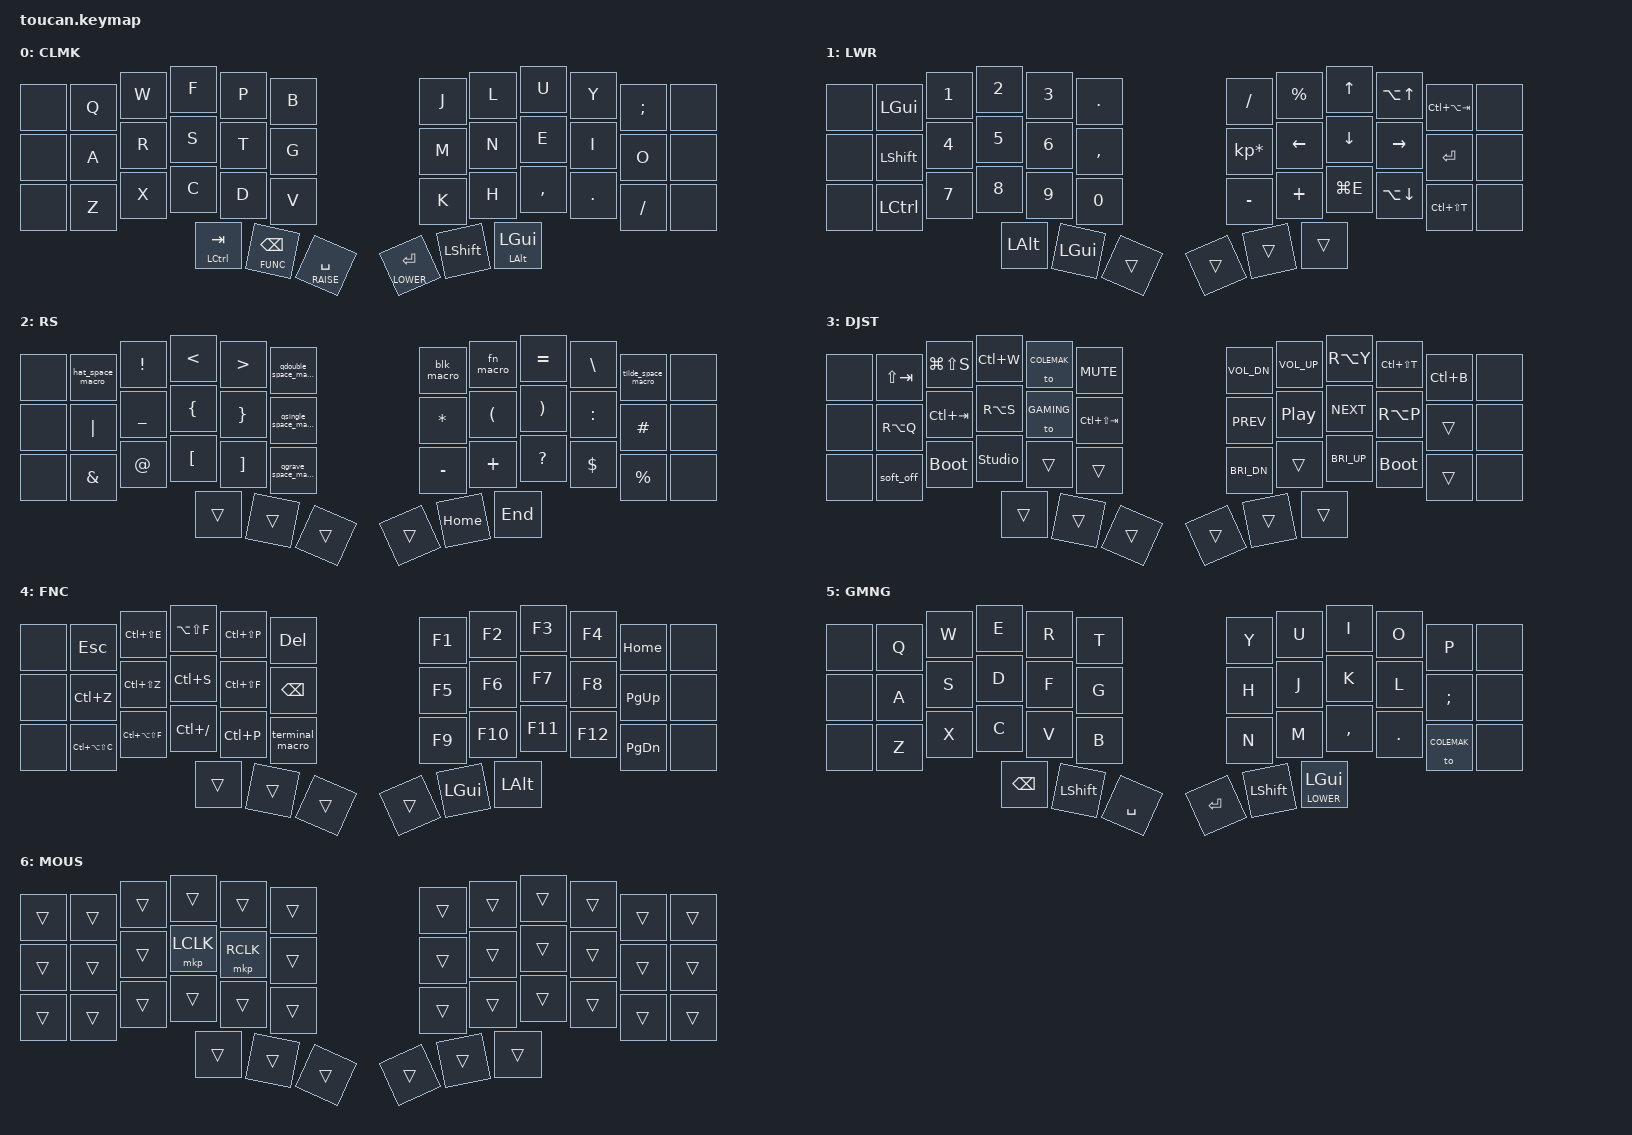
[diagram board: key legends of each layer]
#include <behaviors.dtsi>
#include <dt-bindings/zmk/keys.h>
#include <dt-bindings/zmk/bt.h>
#include <dt-bindings/zmk/outputs.h>

#define COLEMAK 0
#define LOWER   1
#define RAISE   2
#define ADJUST  3
#define FUNC    4
#define GAMING  5
#define MOUSE   6

/ {
    macros {
        feat_macro: feat_macro {
            compatible = "zmk,behavior-macro";
            #binding-cells = <0>;
            bindings = <&macro_tap
                &kp F &kp E &kp A &kp T &kp LPAR &kp M &kp S &kp P &kp MINUS &kp RPAR &kp COLON &kp LEFT &kp LEFT
            >;
            label = "FEAT";
        };

        fn_macro: fn_macro {
            compatible = "zmk,behavior-macro";
            #binding-cells = <0>;
            bindings = <&macro_tap &kp EQUAL &kp GT>;
            label = "FN_ARROW";
        };

        blk_macro: blk_macro {
            compatible = "zmk,behavior-macro";
            #binding-cells = <0>;
            bindings = <&macro_tap &kp LPAR &kp LBRC>;
            label = "BLK_OPEN";
        };

        qdouble_space_macro: qdouble_space_macro {
            compatible = "zmk,behavior-macro";
            #binding-cells = <0>;
            bindings = <&macro_tap &kp DQT>;
            label = "QDOUBLE";
        };

        qsingle_space_macro: qsingle_space_macro {
            compatible = "zmk,behavior-macro";
            #binding-cells = <0>;
            bindings = <&macro_tap &kp SQT>;
            label = "QSINGLE";
        };

        qgrave_space_macro: qgrave_space_macro {
            compatible = "zmk,behavior-macro";
            #binding-cells = <0>;
            bindings = <&macro_tap &kp GRAVE>;
            label = "QGRAVE";
        };

        tilde_space_macro: tilde_space_macro {
            compatible = "zmk,behavior-macro";
            #binding-cells = <0>;
            bindings = <&macro_tap &kp TILDE>;
            label = "TILDE";
        };

        hat_space_macro: hat_space_macro {
            compatible = "zmk,behavior-macro";
            #binding-cells = <0>;
            bindings = <&macro_tap &kp CARET>;
            label = "HAT";
        };

        terminal_macro: terminal_macro {
            compatible = "zmk,behavior-macro";
            #binding-cells = <0>;
            bindings = <&macro_tap &kp LC(K) &kp LC(COMMA)>;
            label = "TERMINAL";
        };
    };

    behaviors {
        lt_rep: layer_tap_repeatable {
            compatible = "zmk,behavior-hold-tap";
            #binding-cells = <2>;
            tapping-term-ms = <140>;
            quick-tap-ms = <175>;
            flavor = "balanced";
            bindings = <&mo>, <&kp>;
        };
    };
};

// Speed up the built-in layer-tap (&lt) and mod-tap (&mt) so layer
// switching feels snappy (matches the QMK 140ms TAPPING_TERM).
&lt {
    tapping-term-ms = <140>;
    quick-tap-ms = <175>;
    flavor = "balanced";
};

&mt {
    tapping-term-ms = <150>;
    quick-tap-ms = <175>;
    flavor = "balanced";
};

/ {

    combos {
        compatible = "zmk,combos";

        combo_esc {
            timeout-ms = <40>;
            key-positions = <1 10>;
            bindings = <&kp ESC>;
            layers = <COLEMAK>;
        };

        combo_feat {
            timeout-ms = <40>;
            key-positions = <3 16 20>;
            bindings = <&feat_macro>;
            layers = <COLEMAK>;
        };
    };

    conditional_layers {
        compatible = "zmk,conditional-layers";
        tri_adjust {
            if-layers = <LOWER RAISE>;
            then-layer = <ADJUST>;
        };

    };

    keymap {
        compatible = "zmk,keymap";

        // The Toucan shield exposes a 42-key 6x3+3 matrix. This keymap keeps a
        // 36-key 3x5+3 logical layout by disabling the unused outer column slots.

        /* Colemak
         *
         * ,----------------------------------.           ,----------------------------------.
         * |   Q  |   W  |   F  |   P  |   B  |           |   J  |   L  |   U  |   Y  |   ;  |
         * |------+------+------+------+------|           |------+------+------+------+------|
         * |   A  |   R  |   S  |   T  |   G  |           |   M  |   N  |   E  |   I  |   O  |
         * |------+------+------+------+------|           |------+------+------+------+------|
         * |   Z  |   X  |   C  |   D  |   V  |           |   K  |   H  |   ,  |   .  |   /  |
         * `-------------+--------------------'           `----------------------------------'
         *                  ,--------------------.    ,--------------------.
         *                  | Ctrl | Bspc | R/Spc|    |L/Ret | Shift| Alt  |
         *                  `--------------------'    `--------------------'
         */
        base {
            display-name = "CLMK";
            bindings = <
                &none      &kp Q         &kp W         &kp F         &kp P         &kp B         &kp J         &kp L         &kp U         &kp Y         &kp SEMI      &none
                &none      &kp A         &kp R         &kp S         &kp T         &kp G         &kp M         &kp N         &kp E         &kp I         &kp O         &none
                &none      &kp Z         &kp X         &kp C         &kp D         &kp V         &kp K         &kp H         &kp COMMA     &kp DOT       &kp FSLH      &none
                                             &mt LCTRL TAB  &lt_rep FUNC BSPC  &lt RAISE SPACE    &lt LOWER RET     &kp LSHFT      &mt LALT LGUI
            >;
        };

        /* Lower
         *
         * ,----------------------------------.           ,----------------------------------.
         * |  Gui |   1  |   2  |   3  |   .  |           |   /  |   %  |  Up  | A-Up | C-A-Tab |
         * |------+------+------+------+------|           |------+------+------+------+------|
         * |Shift |   4  |   5  |   6  |   ,  |           |   *  | Left | Down |Right | Enter  |
         * |------+------+------+------+------|           |------+------+------+------+------|
         * |Ctrl  |   7  |   8  |   9  |   0  |           |   -  |   +  |  E   |A-Down| C-S-T  |
         * `----------------------------------'           `----------------------------------'
         *                  ,--------------------.    ,--------------------.
         *                  | Alt  | Gui  |      |    |      |      |      |
         *                  `--------------------'    `--------------------'
         */
        nav {
            display-name = "LWR";
            bindings = <
                &none      &kp LGUI      &kp N1        &kp N2        &kp N3        &kp DOT       &kp FSLH      &kp PRCNT      &kp UP         &kp LA(UP)     &kp LC(LA(TAB)) &none
                &none      &kp LSHFT     &kp N4        &kp N5        &kp N6        &kp COMMA     &kp KP_MULTIPLY &kp LEFT     &kp DOWN       &kp RIGHT      &kp RET         &none
                &none      &kp LCTRL     &kp N7        &kp N8        &kp N9        &kp N0        &kp MINUS     &kp PLUS       &kp LG(E)      &kp LA(DOWN)   &kp LC(LS(T))   &none
                                              &kp LALT      &kp LGUI      &trans         &trans           &trans          &trans
            >;
        };

        /* Raise
         *
         * ,----------------------------------.           ,----------------------------------.
         * |   ^  |   !  |   <  |   >  |   "  |           |   ({ |   => |   =  |   \  |   ~  |
         * |------+------+------+------+------|           |------+------+------+------+------|
         * |   |  |   _  |   {  |   }  |   '  |           |   *  |   (  |   )  |   :  |   #  |
         * |------+------+------+------+------|           |------+------+------+------+------|
         * |   &  |   @  |   [  |   ]  |   `  |           |   -  |   +  |   ?  |   $  |   %  |
         * `----------------------------------'           `----------------------------------'
         *                  ,--------------------.    ,--------------------.
         *                  |      |      |      |    |      | Home | End  |
         *                  `--------------------'    `--------------------'
         */
        sym {
            display-name = "RS";
            bindings = <
                &none      &hat_space_macro   &kp EXCL      &kp LT        &kp GT        &qdouble_space_macro &blk_macro     &fn_macro      &kp EQUAL      &kp BSLH       &tilde_space_macro &none
                &none      &kp PIPE           &kp UNDER     &kp LBRC      &kp RBRC      &qsingle_space_macro &kp ASTERISK  &kp LPAR       &kp RPAR       &kp COLON      &kp HASH            &none
                &none      &kp AMPS           &kp AT        &kp LBKT      &kp RBKT      &qgrave_space_macro  &kp MINUS     &kp PLUS       &kp QMARK      &kp DLLR       &kp PRCNT           &none
                                              &trans         &trans        &trans            &trans              &kp HOME      &kp END
            >;
        };

        /* Adjust (Lower + Raise)
         *
         * ,----------------------------------.           ,----------------------------------.
         * |ShfTab| Shot | Close| Base | Mute |           | Vol- | Vol+ |   Y  | ShfT |Sidebr|
         * |------+------+------+------+------|           |------+------+------+------+------|
         * |   Q  |NxtTab|   S  |Game  |PrvTab|           | Prev | Play | Next |   P  | Trns |
         * |------+------+------+------+------|           |------+------+------+------+------|
         * | Off  | Boot |Unlock| Trns | Trns |           | Bri- | Trns | Bri+ | Boot | Trns |
         * `----------------------------------'           `----------------------------------'
         *                  ,--------------------.    ,--------------------.
         *                  |      |      |      |    |      |      |      |
         *                  `--------------------'    `--------------------'
         */
        adj {
            display-name = "DJST";
            bindings = <
                &none      &kp LS(TAB)    &kp LG(LS(S)) &kp LC(W)      &to COLEMAK   &kp C_MUTE    &kp C_VOL_DN  &kp C_VOL_UP  &kp RA(Y)     &kp LC(LS(T)) &kp LC(B)      &none
                &none      &kp RA(Q)      &kp LC(TAB)   &kp RA(S)      &to GAMING    &kp LC(LS(TAB)) &kp C_PREV  &kp C_PP      &kp C_NEXT    &kp RA(P)     &trans         &none
                &none      &soft_off      &bootloader   &studio_unlock &trans         &trans        &kp C_BRI_DN  &trans        &kp C_BRI_UP  &bootloader   &trans         &none
                                                &trans         &trans         &trans          &trans            &trans         &trans
            >;
        };

        /* Function
         *
         * ,----------------------------------.           ,----------------------------------.
         * | Esc  |VS Expl|Format |CmdPal| Del |           |  F1  |  F2  |  F3  |  F4  | Home |
         * |------+------+------+------+------|           |------+------+------+------+------|
         * | Undo | Redo | Save |Search| Bspc |           |  F5  |  F6  |  F7  |  F8  | PgUp |
         * |------+------+------+------+------|           |------+------+------+------+------|
         * |Chkout| Merge|Comment|Palette|Term|           |  F9  | F10  | F11  | F12  |PgDn  |
         * `----------------------------------'           `----------------------------------'
         *                  ,--------------------.    ,--------------------.
         *                  |      |      |      |    |      | Gui  | Alt  |
         *                  `--------------------'    `--------------------'
         */
        extra_1 {
            display-name = "FNC";
            bindings = <
                &none      &kp ESC           &kp LC(LS(E))   &kp LA(LS(F))   &kp LC(LS(P))   &kp DEL         &kp F1       &kp F2       &kp F3        &kp F4        &kp HOME      &none
                &none      &kp LC(Z)         &kp LC(LS(Z))   &kp LC(S)       &kp LC(LS(F))   &kp BSPC        &kp F5       &kp F6       &kp F7        &kp F8        &kp PG_UP     &none
                &none      &kp LC(LA(LS(C))) &kp LC(LA(LS(F))) &kp LC(FSLH) &kp LC(P)      &terminal_macro &kp F9       &kp F10      &kp F11       &kp F12       &kp PG_DN     &none
                                                   &trans            &trans          &trans          &trans           &kp LGUI      &kp LALT
            >;
        };

        /* Gaming
         *
         * ,----------------------------------.           ,----------------------------------.
         * |   Q  |   W  |   E  |   R  |   T  |           |   Y  |   U  |   I  |   O  |   P  |
         * |------+------+------+------+------|           |------+------+------+------+------|
         * |   A  |   S  |   D  |   F  |   G  |           |   H  |   J  |   K  |   L  |   ;  |
         * |------+------+------+------+------|           |------+------+------+------+------|
         * |   Z  |   X  |   C  |   V  |   B  |           |   N  |   M  |   ,  |   .  | Base |
         * `----------------------------------'           `----------------------------------'
         *                  ,--------------------.    ,--------------------.
         *                  | Bspc |Shift | Space|    | Enter|Shift |LwrGui|
         *                  `--------------------'    `--------------------'
         */
        extra_2 {
            display-name = "GMNG";
            bindings = <
                &none      &kp Q         &kp W         &kp E         &kp R         &kp T         &kp Y         &kp U         &kp I         &kp O         &kp P         &none
                &none      &kp A         &kp S         &kp D         &kp F         &kp G         &kp H         &kp J         &kp K         &kp L         &kp SEMI      &none
                &none      &kp Z         &kp X         &kp C         &kp V         &kp B         &kp N         &kp M         &kp COMMA     &kp DOT       &to COLEMAK      &none
                                             &kp BSPC       &kp LSHFT      &kp SPACE       &kp RET          &kp LSHFT      &lt LOWER LGUI
            >;
        };

        /* Mouse (auto-activated for ~200ms while touching the trackpad)
         *
         * Only S and T are remapped; everything else falls through to
         * the underlying layer via &trans.
         *
         * ,----------------------------------.           ,----------------------------------.
         * |      |      |      |      |      |           |      |      |      |      |      |
         * |------+------+------+------+------|           |------+------+------+------+------|
         * |      |      |      | LCLK | RCLK |           |      |      |      |      |      |
         * |------+------+------+------+------|           |------+------+------+------+------|
         * |      |      |      |      |      |           |      |      |      |      |      |
         * `----------------------------------'           `----------------------------------'
         *                  ,--------------------.    ,--------------------.
         *                  |      |      |      |    |      |      |      |
         *                  `--------------------'    `--------------------'
         */
        extra_3 {
            display-name = "MOUS";
            bindings = <
                &trans     &trans        &trans        &trans        &trans        &trans        &trans        &trans        &trans        &trans        &trans        &trans
                &trans     &trans        &trans        &mkp LCLK     &mkp RCLK     &trans        &trans        &trans        &trans        &trans        &trans        &trans
                &trans     &trans        &trans        &trans        &trans        &trans        &trans        &trans        &trans        &trans        &trans        &trans
                                              &trans         &trans         &trans          &trans            &trans         &trans
            >;
        };

    };
};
